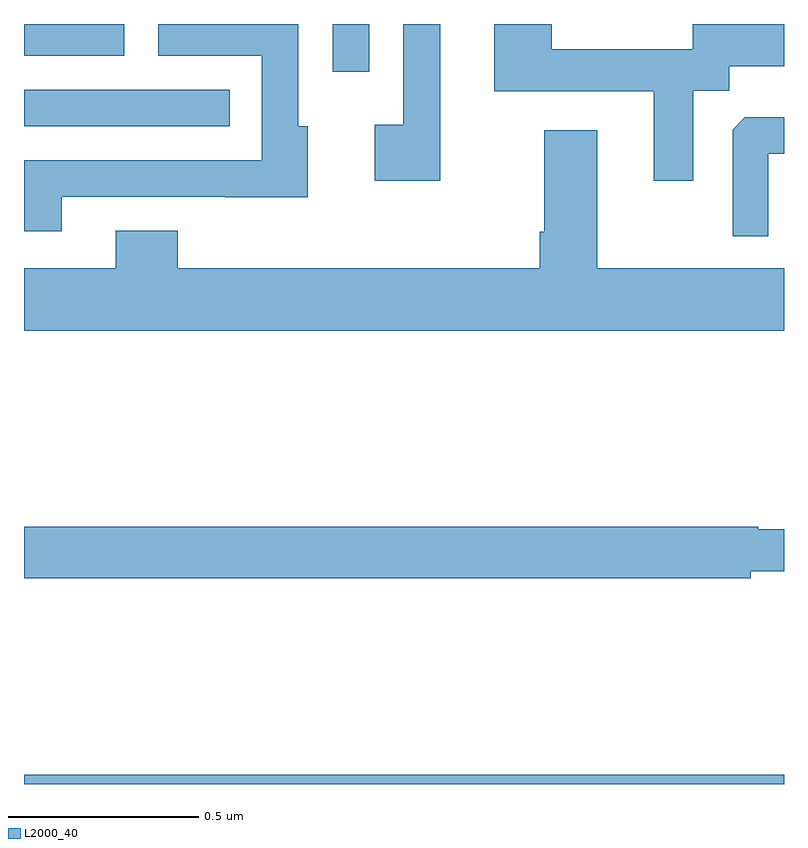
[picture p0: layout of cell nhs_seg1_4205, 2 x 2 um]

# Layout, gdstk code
import gdstk
lib = gdstk.Library(unit=1e-6, precision=1e-09)
def R(c, l, rs):  # rectangles x0, y0, x1, y1
    for r in rs: c.add(gdstk.rectangle(r[:2], r[2:], *l))
def P(c, l, *ps):  # polygons
    for p in ps: c.add(gdstk.Polygon(p, *l))
L2000_40 = (2000, 40)

nhs_seg1_4205 = lib.new_cell('nhs_seg1_4205')
R(nhs_seg1_4205, L2000_40, [(163,557.199,165,557.224), (163,558.93,163.541,559.026), (163.812,559.074,163.908,559.199), (163,559.115,163.264,559.199)])
P(nhs_seg1_4205, L2000_40, [(163.099,558.744),(163.529,558.744),(163.529,558.743),(163.747,558.743),(163.747,558.93),(163.722,558.93),(163.722,559.199),(163.353,559.199),(163.353,559.116),(163.626,559.116),(163.626,558.84),(163,558.84),(163,558.654),(163.099,558.654)],
  [(164.095,559.199),(163.998,559.199),(163.998,558.934),(163.923,558.934),(163.923,558.786),(164.095,558.786)],
  [(164.761,559.024),(164.856,559.024),(164.856,559.088),(165,559.088),(165,559.199),(164.76,559.199),(164.76,559.132),(164.389,559.132),(164.389,559.199),(164.237,559.199),(164.237,559.022),(164.657,559.022),(164.657,558.786),(164.761,558.786)],
  [(164.958,558.858),(165,558.858),(165,558.953),(164.897,558.953),(164.865,558.921),(164.865,558.641),(164.958,558.641)],
  [(165,558.556),(164.509,558.556),(164.509,558.919),(164.369,558.919),(164.369,558.652),(164.357,558.652),(164.357,558.556),(163.405,558.556),(163.405,558.655),(163.241,558.655),(163.241,558.556),(163,558.556),(163,558.392),(165,558.392)],
  [(164.912,557.759),(165,557.759),(165,557.869),(164.932,557.869),(164.932,557.876),(163,557.876),(163,557.74),(164.912,557.74)])

lib.write_gds('nhs_seg1_4205.gds')
